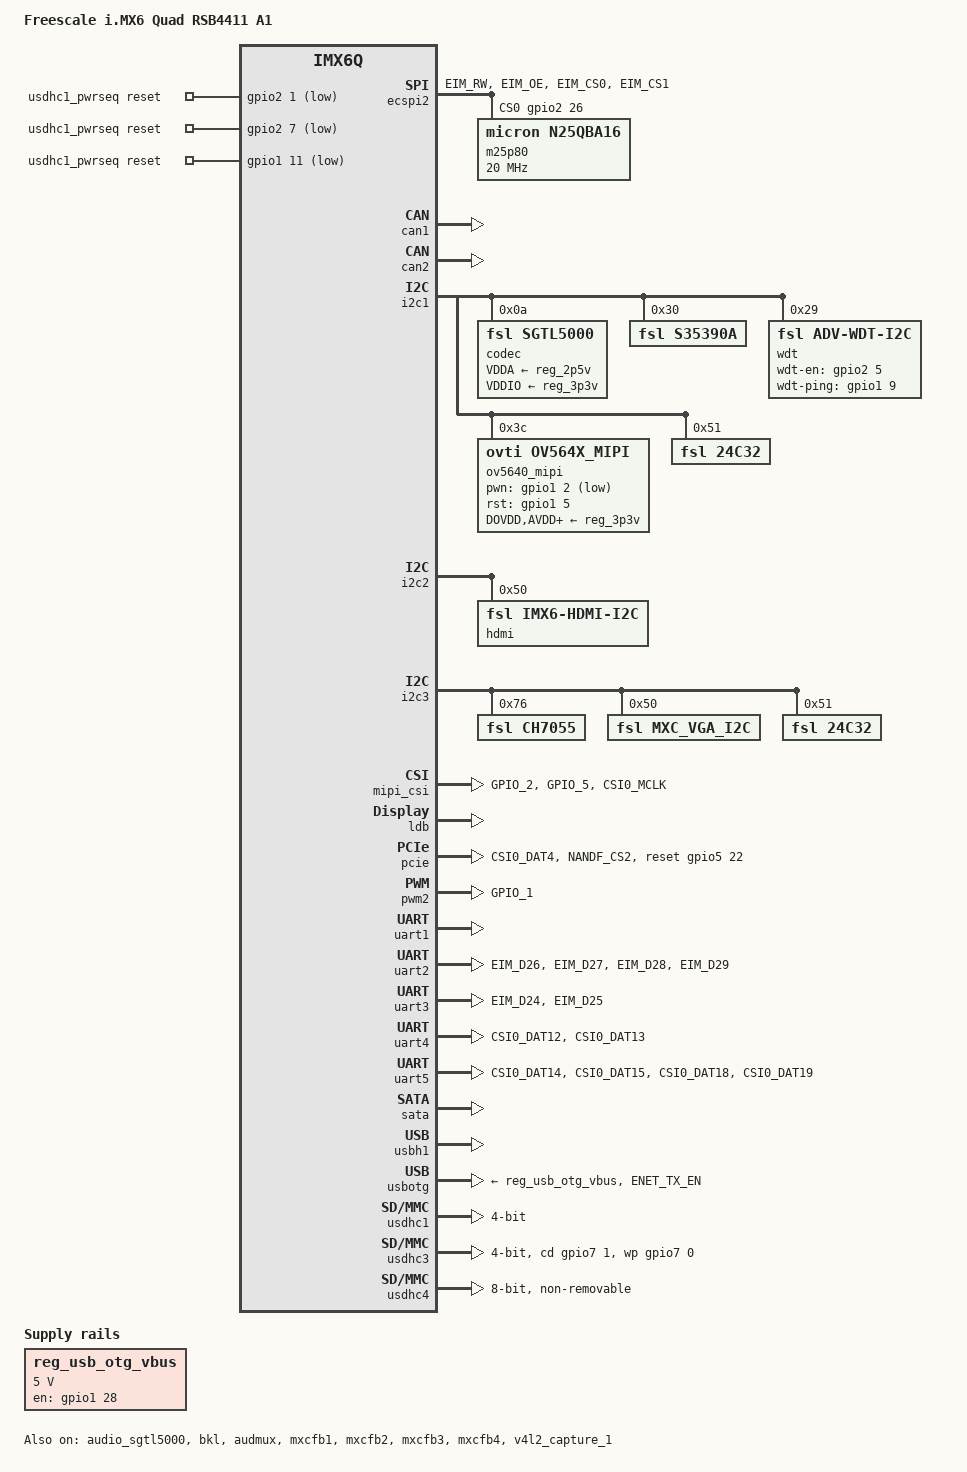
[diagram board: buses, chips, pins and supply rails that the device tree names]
/*
 * Copyright 2012 Freescale Semiconductor, Inc.
 * Copyright 2011 Linaro Ltd.
 *
 * The code contained herein is licensed under the GNU General Public
 * License. You may obtain a copy of the GNU General Public License
 * Version 2 or later at the following locations:
 *
 * http://www.opensource.org/licenses/gpl-license.html
 * http://www.gnu.org/copyleft/gpl.html
 */

/dts-v1/;

#include "imx6q.dtsi"
#include "imx6qdl-advantech.dtsi"

/ {
	model = "Freescale i.MX6 Quad RSB4411 A1";
	compatible = "fsl,imx6q-sabresd", "fsl,imx6q";

	board {
		compatible = "proc-board";
		board-type = "RSB-4411 A1";
		board-cpu = "DualQuad";
	};
	
	regulators {
                reg_usb_otg_vbus: usb_otg_vbus {
                        compatible = "regulator-fixed";
                        regulator-name = "usb_otg_vbus";
                        regulator-min-microvolt = <5000000>;
                        regulator-max-microvolt = <5000000>;
                        gpio = <&gpio1 28 GPIO_ACTIVE_HIGH>;
                        enable-active-high;
                };
        };

        usdhc1_pwrseq: usdhc1_pwrseq {
                compatible = "mmc-pwrseq-simple";
                reset-gpios = 	<&gpio2 1 GPIO_ACTIVE_LOW>,
 				<&gpio2 7 GPIO_ACTIVE_LOW>,
				<&gpio1 11 GPIO_ACTIVE_LOW>;      
        };



};

&audio_sgtl5000 {
	audio-codec = <&codec>;
	mux-ext-port = <4>;
	status = "okay";
};

&bkl {
	lvds-bkl-enable = <&gpio4 6 1>;
	lvds-vcc-enable = <&gpio4 7 1>;
	pwms = <&pwm2 0 5000000>;
	status = "okay";
};

&ecspi2 {
        fsl,spi-num-chipselects = <1>;
        cs-gpios = <&gpio2 26 0>;
        pinctrl-names = "default";
        pinctrl-0 = <&pinctrl_ecspi2_cs_0 &pinctrl_ecspi2_1>;
        status = "okay";

        m25p80@0 {
                #address-cells = <1>;
                #size-cells = <1>;
                compatible = "micron,n25qba16";
                spi-max-frequency = <20000000>;
                reg = <0>;
        };
};



&can1 {
        pinctrl-names = "default";
        pinctrl-0 = <&pinctrl_flexcan1_1>;
        status = "okay";
};

&can2 {
        pinctrl-names = "default";
        pinctrl-0 = <&pinctrl_flexcan2_1>;
        status = "okay";
};

&i2c1 {

	codec: sgtl5000@0a {
		compatible = "fsl,sgtl5000";
		reg = <0x0a>;
		clocks = <&clks 201>;
		VDDA-supply = <&reg_2p5v>;
		VDDIO-supply = <&reg_3p3v>;
		mclk = <16000000>;
		mclk_source = <0>;
	};

	s35390a@30 {
		compatible = "fsl,s35390a";
		reg = <0x30>;
	};

	wdt@29 {
		compatible = "fsl,adv-wdt-i2c";
		pinctrl-names = "default";
		pinctrl-0 = <&pinctrl_wdt_en_1 &pinctrl_wdt_ping_1>;
		status = "okay";
		wdt-en = <&gpio2 5 0>;
		wdt-ping = <&gpio1 9 0>;
		reg = <0x29>;
	};
	
	ov5640_mipi: ov5640_mipi@3c {
		compatible = "ovti,ov564x_mipi";
		reg = <0x3c>;
		clocks = <&clks 201>;
		clock-names = "csi_mclk";
		DOVDD-supply = <&reg_3p3v>; /* 3.3v, enabled via 2.8 VGEN6 */
		AVDD-supply = <&reg_3p3v>;  /* 1.8v */
		DVDD-supply = <&reg_3p3v>;  /* 1.8v */
		PVDD-supply = <&reg_3p3v>;  /* 1.8v */
		pwn-gpios = <&gpio1 2 1>;   /* active low: SD1_CLK */
		rst-gpios = <&gpio1 5 0>;   /* active high: SD1_DAT2 */
		csi_id = <1>;
		mclk = <24000000>;
		mclk_source = <0>;
	};

	24c32@51 {
		compatible = "fsl,24c32";
		reg = <0x51>;
	};


};

&i2c2 {

	hdmi: edid@50 {
		compatible = "fsl,imx6-hdmi-i2c";
		reg = <0x50>;
	};
};

&i2c3 {

	ch7055@76 {
		compatible = "fsl,ch7055";
		reg = <0x76>;
	};

	mxc_vga_i2c@50 {
		compatible = "fsl,mxc_vga_i2c";
		reg = <0x50>;
	};

	24c32@51 {
		compatible = "fsl,24c32";
		reg = <0x51>;
	};
};

&iomuxc {
	pinctrl-names = "default";
	pinctrl-0 = <&pinctrl_hog_1 &pinctrl_hog_2>;

	hog {
		pinctrl_hog_1: hoggrp-1 {
                        fsl,pins = <
                                MX6QDL_PAD_SD3_DAT4__GPIO7_IO01         0x80000000      /* SD3_CD */
                                MX6QDL_PAD_SD3_DAT5__GPIO7_IO00         0x80000000      /* SD3_WP */
                                MX6QDL_PAD_SD2_CMD__GPIO1_IO11         	0x80000000      /* SDIO RST */
                                MX6QDL_PAD_SD2_CLK__GPIO1_IO10         	0x80000000      /* SDIO WAKE */
                                MX6QDL_PAD_NANDF_D7__GPIO2_IO07        	0x80000000      /* M.2 WLAN OFF */
                                MX6QDL_PAD_NANDF_D1__GPIO2_IO01        	0x80000000      /* M.2 BT OFF */
				MX6QDL_PAD_GPIO_19__GPIO4_IO05		0x80000000	/* UART 5 WAKE */
                                MX6QDL_PAD_GPIO_0__CCM_CLKO1            0x130b0		/* AUDIO CLK */
                        >;
                };
		pinctrl_hog_2: hoggrp-2 {
			fsl,pins = <
				MX6QDL_PAD_ENET_RXD0__GPIO1_IO27	0x80000000	/* GPIO1 */
				MX6QDL_PAD_ENET_TXD1__GPIO1_IO29	0x80000000	/* GPIO2 */
				MX6QDL_PAD_ENET_CRS_DV__GPIO1_IO25	0x80000000	/* GPIO3 */
				MX6QDL_PAD_ENET_TXD0__GPIO1_IO30	0x80000000	/* GPIO4 */
				MX6QDL_PAD_EIM_BCLK__GPIO6_IO31		0x80000000	/* GPIO5 */
				MX6QDL_PAD_EIM_D30__GPIO3_IO30		0x80000000	/* GPIO6 */
				MX6QDL_PAD_EIM_D31__GPIO3_IO31		0x80000000	/* GPIO7 */
				MX6QDL_PAD_EIM_D21__GPIO3_IO21		0x80000000	/* GPIO8 */
				MX6QDL_PAD_EIM_A25__GPIO5_IO02		0x80000000	/* GPIO9 */
				MX6QDL_PAD_EIM_D20__GPIO3_IO20		0x80000000	/* GPI10 */
				MX6QDL_PAD_EIM_D23__GPIO3_IO23		0x80000000	/* GPI11 */
				MX6QDL_PAD_NANDF_CS0__GPIO6_IO11	0x80000000	/* GPI12 */
				MX6QDL_PAD_NANDF_D2__GPIO2_IO02		0x80000000	/* GPI13 */
				MX6QDL_PAD_NANDF_WP_B__GPIO6_IO09	0x80000000	/* GPI14 */
				MX6QDL_PAD_NANDF_D3__GPIO2_IO03		0x80000000	/* GPI15 */
				MX6QDL_PAD_NANDF_CS3__GPIO6_IO16	0x80000000	/* GPI16 */
				MX6QDL_PAD_NANDF_CLE__GPIO6_IO07	0x80000000	/* GPI17 */
				MX6QDL_PAD_NANDF_D4__GPIO2_IO04		0x80000000	/* GPI18 */
				MX6QDL_PAD_NANDF_D0__GPIO2_IO00		0x80000000	/* GPI19 */
				MX6QDL_PAD_NANDF_ALE__GPIO6_IO08	0x80000000	/* GPI20 */
			>;
		};
	};

        mipi-csi {
                pinctrl_mipi_csi_1: mipi_csi1grp-1{
                        fsl,pins = <
                                MX6QDL_PAD_GPIO_2__GPIO1_IO02           0x80000000      /* GPIO1=MIPICSI_PWN */
                                MX6QDL_PAD_GPIO_5__GPIO1_IO05           0x80000000      /* GPIO3=MIPICSI_RST */
                                MX6QDL_PAD_CSI0_MCLK__CCM_CLKO1         0x80000000      /* CSI0_MCLK */
                        >;
                };
        };

	pcie {
		pinctrl_pcie_1: pciegrp-1 {
			fsl,pins = <
				MX6QDL_PAD_CSI0_DAT4__GPIO5_IO22	 0x80000000      /* PCIE_RST */
				MX6QDL_PAD_NANDF_CS2__GPIO6_IO15	0x80000000	/* 3G_RF_OFF */
			>;
		};
	};

	pwm {
		pinctrl_pwm2_1: pwm2grp-1 {
			fsl,pins = <
				MX6QDL_PAD_GPIO_1__PWM2_OUT			0x1b0b1
			>;
		};
	};

	spi1 {
		pinctrl_ecspi1_cs_0: ecspi1_cs_grp-0 {
			fsl,pins = <
				MX6QDL_PAD_EIM_EB2__GPIO2_IO30		0x80000000	/* ECSPI1_CS0 */
			>;
		};
	};

	spi2 {
		pinctrl_ecspi2_cs_0: ecspi2_cs_grp-0 {
			fsl,pins = <
				MX6QDL_PAD_EIM_RW__GPIO2_IO26		0x80000000	/* ECSPI2_CS0 */
			>;
		};
		pinctrl_ecspi2_1: ecspi2grp-1 {
			fsl,pins = <
				MX6QDL_PAD_EIM_OE__ECSPI2_MISO		0x170f1		/* ECSPI2_MISO */
				MX6QDL_PAD_EIM_CS0__ECSPI2_SCLK		0x170f1		/* ECSPI2_CLK */
				MX6QDL_PAD_EIM_CS1__ECSPI2_MOSI		0x1B008		/* ECSPI2_MOSI */
			>;
		};
	};

	uart2 {
		pinctrl_uart2_3: uart2grp-3 { /* DCE mode */
			fsl,pins = <
				MX6QDL_PAD_EIM_D26__UART2_TX_DATA	0x1b0b1
				MX6QDL_PAD_EIM_D27__UART2_RX_DATA	0x1b0b1
				MX6QDL_PAD_EIM_D28__UART2_CTS_B		0x1b0b1
				MX6QDL_PAD_EIM_D29__UART2_RTS_B		0x1b0b1
			>;
		};
	};

	uart3 {
		pinctrl_uart3_1: uart3grp-1 {
			fsl,pins = <
				MX6QDL_PAD_EIM_D24__UART3_TX_DATA	0x1b0b1
				MX6QDL_PAD_EIM_D25__UART3_RX_DATA	0x1b0b1
			>;
		};
	};

	uart4 {
		pinctrl_uart4_1: uart4grp-1 {
			fsl,pins = <
				MX6QDL_PAD_CSI0_DAT12__UART4_TX_DATA	0x1b0b1
				MX6QDL_PAD_CSI0_DAT13__UART4_RX_DATA	0x1b0b1
			>;
		};
	};

	uart5 {
		pinctrl_uart5_2: uart5grp-1 {
			fsl,pins = <
				MX6QDL_PAD_CSI0_DAT14__UART5_TX_DATA	0x1b0b1
				MX6QDL_PAD_CSI0_DAT15__UART5_RX_DATA	0x1b0b1
				MX6QDL_PAD_CSI0_DAT18__UART5_CTS_B	0x1b0b1
				MX6QDL_PAD_CSI0_DAT19__UART5_RTS_B	0x1b0b1
			>;
		};
	};

	wdt{
		pinctrl_wdt_en_1: wdt_engrp-1 {
			fsl,pins = <
				MX6QDL_PAD_NANDF_D5__GPIO2_IO05		0x80000000
			>;
		};
		pinctrl_wdt_ping_1: wdt_pinggrp-1 {
			fsl,pins = <
				MX6QDL_PAD_GPIO_9__GPIO1_IO09		0x80000000
			>;
		};
	};

	usbotg {
		pinctrl_usbotg_3: usbh1_grp-3 {
                        fsl,pins = <
                                MX6QDL_PAD_ENET_TX_EN__GPIO1_IO28       0x80000000      /* USB_OTG_PWR */
                        >;
                };
        };

};

&mipi_csi {
        pinctrl-names = "default";
        pinctrl-0 = <&pinctrl_mipi_csi_1>;
        status = "okay";
};

&audmux {
        pinctrl-names = "default";
        pinctrl-0 = <&pinctrl_audmux_1>;
        status = "okay";
};

&ldb {
	status = "okay";
};

&mxcfb1 {
	status = "okay";
};

&mxcfb2 {
	status = "okay";
};

&mxcfb3 {
	status = "okay";
};

&mxcfb4 {
	status = "okay";
};

&pcie {
	pinctrl-names = "default";
	pinctrl-0 = <&pinctrl_pcie_1>;
	reset-gpio = <&gpio5 22 0>;
	disable-gpio = <&gpio6 15 0>;
	status = "okay";
};

&pwm2 {
	pinctrl-names = "default";
	pinctrl-0 = <&pinctrl_pwm2_1>;
	status = "okay";
};

&uart1 {
	pinctrl-names = "default";
	pinctrl-0 = <&pinctrl_uart1_1>;
	status = "okay";
};

&uart2 {
	pinctrl-names = "default";
	pinctrl-0 = <&pinctrl_uart2_3>;
	fsl,uart-has-rtscts;
	status = "okay";
};

&uart3 {
	pinctrl-names = "default";
	pinctrl-0 = <&pinctrl_uart3_1>;
	status = "okay";
};

&uart4 {
	pinctrl-names = "default";
	pinctrl-0 = <&pinctrl_uart4_1>;
	status = "okay";
};

&uart5 {
	pinctrl-names = "default";
	pinctrl-0 = <&pinctrl_uart5_2>;
	status = "okay";
};

&sata {
        status = "okay";
};

&usbh1 {
	status = "okay";
};

&usbotg {
        pinctrl-names = "default";
        pinctrl-0 = <&pinctrl_usbotg_2 &pinctrl_usbotg_3>;
        vbus-supply = <&reg_usb_otg_vbus>;
        imx6-usb-charger-detection;
        status = "okay";
};

&usdhc1 {
	pinctrl-names = "default";
	pinctrl-0 = <&pinctrl_usdhc1_1>;
	bus-width = <4>;
	mmc-pwrseq = <&usdhc1_pwrseq>;
	status = "okay";
};

&usdhc3 {
        pinctrl-names = "default";
        pinctrl-0 = <&pinctrl_usdhc3_2>;
        bus-width = <4>;
        cd-gpios = <&gpio7 1 0>;
        wp-gpios = <&gpio7 0 0>;
        status = "okay";
};

&usdhc4 {
	pinctrl-names = "default";
	pinctrl-0 = <&pinctrl_usdhc4_1>;
	bus-width = <8>;
	non-removable;
	no-1-8-v;
	keep-power-in-suspend;
	status = "okay";
};

&v4l2_capture_1 {
        status = "okay";
};

&wdog1 {
	status = "disabled";
};
